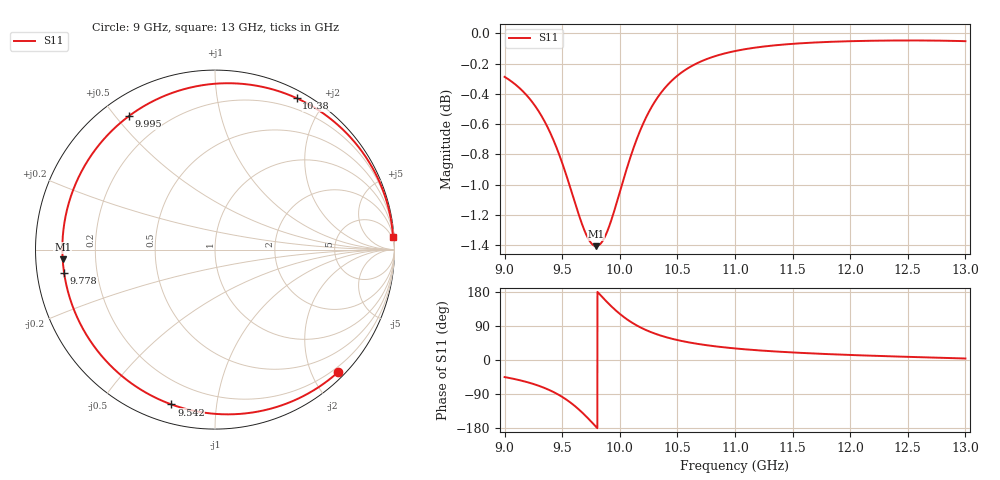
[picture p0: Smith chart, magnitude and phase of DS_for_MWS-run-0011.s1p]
! TOUCHSTONE file generated by CST DESIGN STUDIO
! Date and time: Tue Feb  4 18:28:36 2025
! Project name: C:\Work\MatlabApps\UnitCellOptimizationMatlab\CST\unitcell.cst
! Tree item: Tasks\Sweep1\SPara1\S-Parameters
! Header version: 2024
! Port assignment regex: !\s*Touchstone port\s*([0-9]+)\s*=\s*(CST MWS port|CST DES external port|CST DES block port)\s*(.+)\s* \(\"(.*)\"\)(\s*mode\s*([0-9]+))?.*
! Touchstone port assignment:
! Touchstone port 1 = CST DES external port 1 ("")
# GHz S MA R 50
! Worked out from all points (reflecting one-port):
!   4001 points, 9 GHz to 13 GHz, reference 50 ohm
!   lowest |S11| = -1.4 dB at 9.794 GHz (marker M1), VSWR 12.37, Z = 4.04 - j1.57 ohm
!   phase of S11 starts at -45 deg and turns -311 deg over the sweep
!   S11 on the Smith chart (normalised r, x): 9 GHz: 0.11, -2.41; 9.542 GHz: 0.09, -0.75; 9.778 GHz: 0.08, -0.08; 9.995 GHz: 0.08, +0.54; 10.38 GHz: 0.08, +1.67; 13 GHz: 2, +29
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9  0.9674 -45.0
9.144  0.9581 -54.3
9.275  0.945 -65.8
9.389  0.9284 -79.4
9.5  0.9061 -97.4
9.542  0.8961 -105.8
9.601  0.8815 -119.2
9.657  0.8681 -134.0
9.722  0.8559 -153.2
9.778  0.8507 -171.1
9.794  0.8505 -176.4
9.838  0.8525 169.2
9.883  0.8586 154.9
9.94  0.8707 137.8
9.995  0.8849 123.0
10  0.8862 121.7
10.071  0.9048 105.5
10.151  0.9235 90.5
10.264  0.9437 74.3
10.385  0.9587 61.7
10.5  0.9683 52.6
10.602  0.9744 46.3
10.717  0.9793 40.6
11  0.9866 30.5
11.5  0.9921 19.9
12  0.9941 13.3
12.5  0.9946 8.3
13  0.9941 4.0
